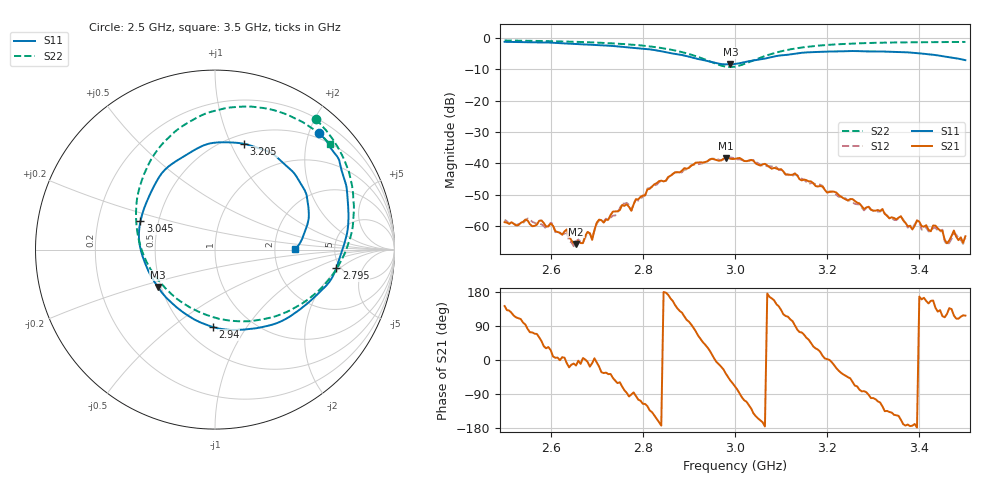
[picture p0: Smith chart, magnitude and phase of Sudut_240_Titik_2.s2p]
# Hz S RI R 50
! CMT, C1220, 16058040, 17.2.0/1
! Date: 15/08/2018 10:51:49
! Data: Format (Calibration Info)
! Freq  S11: Re/Im (F2)  S21: Re/Im (F2)  S12: Re/Im (F2)  S22: Re/Im (F2)
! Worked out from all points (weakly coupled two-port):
!   201 points, 2.5 GHz to 3.5 GHz, reference 50 ohm
!   highest |S21| = -38.27 dB at 2.98 GHz (marker M1); lowest = -65.7 dB at 2.655 GHz (marker M2)
!   lowest |S11| = -8.4 dB at 2.99 GHz (marker M3), VSWR 2.23, Z = 24 - j11.7 ohm
!   |S11| at or under -10 dB: nowhere
!   |S22| runs from -9.2 to -0.7 dB; largest |S21 - S12| = 0.00084
!   S11 on the Smith chart (normalised r, x): 2.5 GHz: 0.40, +2.17; 2.795 GHz: 4.59, -1.80; 2.94 GHz: 0.67, -0.71; 3.045 GHz: 0.40, +0.16; 3.205 GHz: 0.60, +1.12; 3.5 GHz: 2.60, +0.01
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2.5e9  0.5809 0.651  -0.000911 0.000701  -0.000999 0.000766  0.5618 0.7264
2.58e9  0.68 0.5198  0.000787 0.000941  0.000744 0.000759  0.6504 0.6229
2.655e9  0.7335 0.3437  0.0005 -0.000129  0.000567 -5.7e-05  0.7246 0.4887
2.67e9  0.7365 0.3133  0.00053 4.8e-05  0.000554 2.66e-05  0.7375 0.4558
2.68e9  0.7387 0.2836  0.000799 -6.71e-05  0.000799 -7.7e-05  0.746 0.4333
2.69e9  0.7413 0.2495  0.000593 -8.7e-05  0.000642 -9.16e-05  0.7518 0.4095
2.705e9  0.7435 0.204  0.0012 -0.000378  0.00119 -0.000315  0.7608 0.3703
2.775e9  0.7032 -0.0214  -3.19e-05 -0.00175  -0.000129 -0.00178  0.771 0.1638
2.795e9  0.6757 -0.1045  -0.000881 -0.00278  -0.000805 -0.00259  0.7607 0.0928
2.835e9  0.5793 -0.2412  -0.00497 -0.00145  -0.00476 -0.00157  0.702 -0.0638
2.94e9  -0.0131 -0.4311  0.00897 0.00595  0.00885 0.00619  0.1883 -0.3991
2.98e9  -0.2704 -0.2692  0.00989 -0.00715  0.00985 -0.00673  -0.1363 -0.3238
2.99e9  -0.3183 -0.208  0.0069 -0.00961  0.0074 -0.01  -0.2103 -0.2759
3e9  -0.3593 -0.1436  0.00408 -0.0111  0.00358 -0.0113  -0.2762 -0.2153
3.045e9  -0.4151 0.1582  -0.00843 -0.00524  -0.00883 -0.00566  -0.437 0.1304
3.17e9  0.0278 0.5977  0.00391 0.00279  0.00371 0.00307  -0.0922 0.7396
3.205e9  0.1607 0.589  0.0035 1.65e-05  0.00357 -0.000185  0.0352 0.7826
3.335e9  0.4661 0.3872  -0.00097 -0.000899  -0.00102 -0.000876  0.3896 0.7567
3.45e9  0.5039 0.1089  -0.00037 0.000759  -0.000419 0.000764  0.5829 0.6431
3.46e9  0.4945 0.0834  -0.000275 0.00045  -0.000231 0.000444  0.5958 0.6333
3.475e9  0.4801 0.0486  -0.000391 0.00075  -0.000363 0.000664  0.6134 0.6159
3.5e9  0.4452 0.00121  -0.000312 0.00061  -0.000241 0.000593  0.643 0.5861
